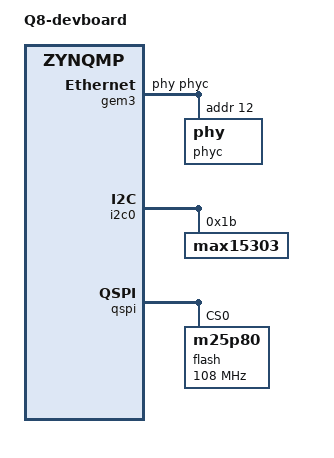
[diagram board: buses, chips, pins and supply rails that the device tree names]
/*
 * Xiphos Q8 devicetree
 *
 *  Copyright (C) 2016, Xilinx, Inc.
 *  Copyright (C) 2016 - 2017, Xiphos System Corp.
 *
 * SPDX-License-Identifier:	GPL-2.0+
 */

#include "zynqmp-zcu102-revA.dts"

/ {
	model = "Q8-devboard";
	compatible = "xiphos,q8", "xlnx,zynqmp-zcu102-revB", "xlnx,zynqmp-zcu102", "xlnx,zynqmp";
};

&gem3 {
	phy-handle = <&phyc>;
	phyc: phy@c {
		reg = <0xc>;
		ti,rx-internal-delay = <0x8>;
		ti,tx-internal-delay = <0xa>;
		ti,fifo-depth = <0x1>;
		ti,rxctrl-strap-worka;
	};
	/* Cleanup from RevA */
	/delete-node/ phy@21;
};

/* Different qspi 512Mbit version */

/* Fix collision with u61 */
&i2c0 {
	i2cswitch@75 {
		i2c@2 {
			max15303@1b { /* u8 */
				compatible = "max15303";
				reg = <0x1b>;
			};
			/delete-node/ max15303@20;
		};
	};
};

&qspi {
	status = "okay";
	is-dual = <0>;
	is-stacked = <1>;
	has-io-mode = <1>;
	spi-rx-bus-width = <2>;
	/delete-node/ flash@0;
	flash: flash@1 {
		compatible = "m25p80"; /* 32MB */
		#address-cells = <1>;
		#size-cells = <1>;
		reg = <0x0>;
		spi-tx-bus-width = <1>;
		spi-rx-bus-width = <4>; /* FIXME also DUAL configuration possible */
		spi-max-frequency = <108000000>; /* Based on DC1 spec */

		qspi0@0 {
			reg = <0x00000000 0x08000000>;
		};

		qspi0-nom@1 {
			reg = <0x00000000 0x04000000>;
		};
		qspi0-nom-xscinfo@2 {
			reg = <0x00000000 0x00020000>;
		};
		qspi0-nom-fw@3 {
			/* 10MiB */
			reg = <0x00020000 0x00A00000>;
		};
		qspi0-nom-rootfs@4 {
			reg = <0x00A20000 0x035E0000>;
		};
	};
};
